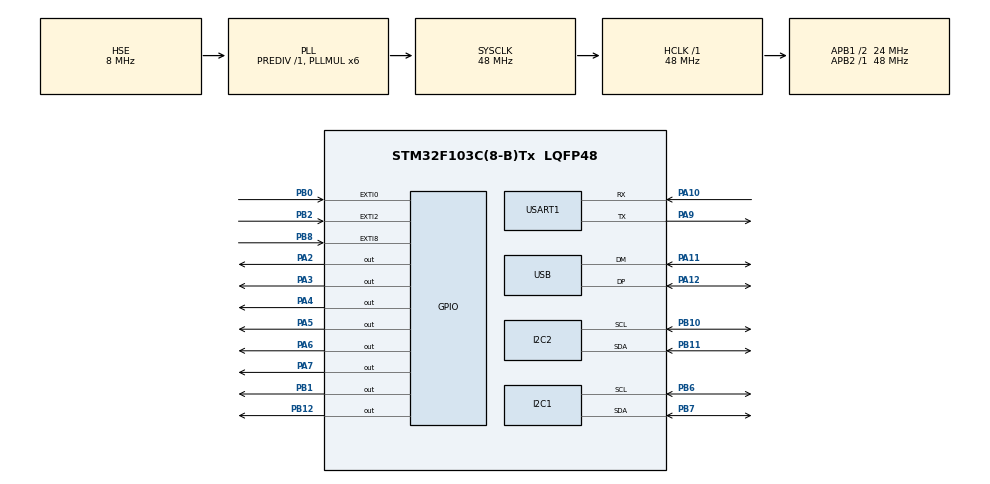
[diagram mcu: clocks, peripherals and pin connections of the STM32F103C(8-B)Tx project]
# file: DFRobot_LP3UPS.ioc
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Mcu.Family=STM32F1
Mcu.Name=STM32F103C(8-B)Tx
Mcu.Package=LQFP48
NVIC.EXTI0_IRQn=true\:0\:0\:false\:false\:true\:true\:true\:true
NVIC.EXTI2_IRQn=true\:0\:0\:false\:false\:true\:true\:true\:true
NVIC.EXTI9_5_IRQn=true\:0\:0\:false\:false\:true\:true\:true\:true
NVIC.PriorityGroup=NVIC_PRIORITYGROUP_4
NVIC.RTC_Alarm_IRQn=true\:0\:0\:false\:false\:true\:true\:true\:true
NVIC.RTC_IRQn=true\:0\:0\:false\:false\:true\:true\:true\:true
NVIC.TIM3_IRQn=true\:0\:0\:false\:false\:true\:true\:true\:true
NVIC.USB_LP_CAN1_RX0_IRQn=true\:0\:0\:false\:false\:true\:false\:true\:true
PA10.Mode=Asynchronous
PA10.Signal=USART1_RX
PA11.Mode=Device
PA11.Signal=USB_DM
PA12.Mode=Device
PA12.Signal=USB_DP
PA2.Signal=GPIO_Output
PA3.Signal=GPIO_Output
PA4.Signal=GPIO_Output
PA5.Signal=GPIO_Output
PA6.Signal=GPIO_Output
PA7.Signal=GPIO_Output
PA9.Mode=Asynchronous
PA9.Signal=USART1_TX
PB0.Signal=GPXTI0
PB1.Signal=GPIO_Output
PB10.Mode=I2C
PB10.Signal=I2C2_SCL
PB11.Mode=I2C
PB11.Signal=I2C2_SDA
PB12.Signal=GPIO_Output
PB2.Signal=GPXTI2
PB6.Mode=I2C
PB6.Signal=I2C1_SCL
PB7.Mode=I2C
PB7.Signal=I2C1_SDA
PB8.GPIO_ModeDefaultEXTI=GPIO_MODE_IT_RISING
PB8.GPIO_PuPd=GPIO_NOPULL
PB8.Signal=GPXTI8
PD0-OSC_IN.Mode=HSE-External-Oscillator
PD0-OSC_IN.Signal=RCC_OSC_IN
PD1-OSC_OUT.Mode=HSE-External-Oscillator
PD1-OSC_OUT.Signal=RCC_OSC_OUT
ProjectManager.HeapSize=0x400
ProjectManager.StackSize=0x400
ProjectManager.TargetToolchain=MDK-ARM V5.32
RCC.AHBFreq_Value=48000000
RCC.APB1CLKDivider=RCC_HCLK_DIV2
RCC.APB1Freq_Value=24000000
RCC.APB1TimFreq_Value=48000000
RCC.APB2Freq_Value=48000000
RCC.APB2TimFreq_Value=48000000
RCC.HCLKFreq_Value=48000000
RCC.PLLMUL=RCC_PLL_MUL6
RCC.SYSCLKFreq_VALUE=48000000
RCC.SYSCLKSource=RCC_SYSCLKSOURCE_PLLCLK
RCC.USBFreq_Value=48000000
USART1.VirtualMode=VM_ASYNC
USB_DEVICE.CLASS_NAME_FS=CDC
USB_DEVICE.VirtualMode=Cdc
USB_DEVICE.VirtualModeFS=Cdc_FS
VP_RTC_VS_RTC_Activate.Mode=RTC_Enabled
VP_SYS_VS_ND.Mode=No_Debug
VP_TIM3_VS_ClockSourceITR.Mode=TriggerSource_ITR0
VP_USB_DEVICE_VS_USB_DEVICE_CDC_FS.Mode=CDC_FS
board=custom

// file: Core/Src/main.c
/* USER CODE BEGIN Header */
/**
  ******************************************************************************
  * @file           : main.c
  * @brief          : Main program body
  ******************************************************************************
  * @attention
  *
  * Copyright (c) 2022 STMicroelectronics.
  * All rights reserved.
  *
  * This software is licensed under terms that can be found in the LICENSE file
  * in the root directory of this software component.
  * If no LICENSE file comes with this software, it is provided AS-IS.
  *
  ******************************************************************************
  */
/* USER CODE END Header */
#include "main.h"
#include "i2c.h"
#include "rtc.h"
#include "tim.h"
#include "usart.h"
#include "usb_device.h"
#include "gpio.h"

/* USER CODE BEGIN Includes */
#include "usbd_cdc_if.h"
#include "FlashRW.h"
#include "battery.h"
// #include<math.h>
/* USER CODE END Includes */

void SystemClock_Config(void);

/* USER CODE BEGIN 0 */
void USB_Status_Init(void);

// 加入以下代码,支持printf函数,而不用选择use MicroLIB
#if 1
  #pragma import(__use_no_semihosting)
  // 标准库需要的支持函数
  struct __FILE
  {
    int handle;
  };

  FILE __stdout;
  // 定义_sys_exit()以避免使用半主机模式
  void _sys_exit(int x)
  {
    x = x;
  }

  // 重定义fputc函数
  int fputc(int ch, FILE *f)
  {
    while((USART1->SR&0X40)==0){}   // 循环发,直到发完
      USART1->DR = (uint8_t) ch;
    return ch;
  }
#endif

/* USER CODE END 0 */

int main(void)
{

  /* MCU Configuration--------------------------------------------------------*/

  /* Reset of all peripherals, Initializes the Flash interface and the Systick. */
  HAL_Init();

  /* Configure the system clock */
  SystemClock_Config();
  NVIC_SetPriority(SysTick_IRQn, 3);   // 设置更高的滴答优先级，使得它能在一些中断里面使用

  /* USER CODE BEGIN SysInit */
  USB_Status_Init();
  MX_USART1_UART_Init();

  /* USER CODE END SysInit */

  /* Initialize all configured peripherals */
  MX_GPIO_Init();
  MX_USB_DEVICE_Init();
  MX_I2C1_Init();
  MX_I2C2_Init();
  MX_TIM3_Init();
  MX_RTC_Init();
  /* USER CODE BEGIN 2 */

  // HAL_GPIO_WritePin(GPIOB ,GPIO_PIN_12, GPIO_PIN_SET);
  RTC_Set(2022, 7, 26, 17, 30, 00);
  while(0)
  {
    if(USB_COM.RecFlag==1) {
      if(UserRxBufferFS[0] == 0x40) {
        UserRxBufferFS[4]++;  //就是串口调试时BC后面的计数
        UserRxBufferFS[5] = '\n';
        CDC_Transmit_FS(UserRxBufferFS, 6);
        USB_COM.RecFlag=0;
      }
    }
  }
  // HAL_GPIO_WritePin(GPIOA ,GPIO_PIN_6, GPIO_PIN_SET);
  // HAL_GPIO_WritePin(GPIOB ,GPIO_PIN_12, GPIO_PIN_SET);
  // HAL_TIM_Base_Start_IT(&htim3);
  // RTC_TimeTypeDef myTime;
  // myTime.Hours = 25;
  // myTime.Minutes = 70;
  // myTime.Seconds = 70;
  // HAL_RTC_SetTime(&hrtc, &myTime, RTC_FORMAT_BIN);
  // while(1) {
  //   HAL_RTC_GetTime(&hrtc, &myTime, RTC_FORMAT_BIN);
  //   printf("myTime.Hours = %u\r\n", myTime.Hours);
  //   printf("myTime.Minutes = %u\r\n", myTime.Minutes);
  //   printf("myTime.Seconds = %u\r\n", myTime.Seconds);
  //   HAL_Delay(1000);
  // }
  //verify and set all the parameter. Alert when fail to set
  // int ret_val;
  // ret_val = gauge_verify_and_calibrate();
  // if(ret_val == -1) {
  //   printf("gauge_verify_and_calibrate failed\n");
  // }
  // autocalibrate();
    // uint8_t buf[100] = {0};
    // uint8_t buf1[100] = {0};
  // while (buff[rtcDataLen].count)
  // {
  //   rtcDataLen
  // }
  // struct uart_RTC_Time hyy_bufff[20] = {0};
  FlashReadBuff(DEVICE_LOG_ADDRESS, (uint8_t *)buff, sizeof(buff));
  rtcDataLen = buff[0].count;
  for (size_t i = 1; i < 20; i++)
  {
    if(rtcDataLen < buff[i].count) {   // 遍历之前的任务数
      if (0xFF != buff[i].count) {   // 若Flash未写入 是0XFF
        rtcDataLen = buff[i].count;
      }
    }
    // printf("--\nbuff[%u].timePoint = %#x\r\n", i, buff[i].timePoint);
    // printf("buff.offset = %#x\r\n", buff[i].offset);
    // printf("buff.type = %#x\r\n", buff[i].type);
    // printf("buff.number = %#x\r\n", buff[i].number);
    // printf("buff.count = %#x\r\n", buff[i].count);
    // printf("buff.arr[0] = %#x\r\n", buff[i].arr[0]);
    // printf("buff.year = %#x\r\n", buff[i].year);
    // printf("buff.month = %#x\r\n", buff[i].month);
    // printf("buff.date = %#x\r\n", buff[i].date);
    // printf("buff.hour = %#x\r\n", buff[i].hour);
    // printf("buff.minute = %#x\r\n++\n", buff[i].minute);
    // printf("hyy_bufff[%u].timePoint = %#x\r\n", i, hyy_bufff[i].timePoint);
    // printf("hyy_bufff.offset = %#x\r\n", hyy_bufff[i].offset);
    // printf("hyy_bufff.type = %#x\r\n", hyy_bufff[i].type);
    // printf("hyy_bufff.number = %#x\r\n", hyy_bufff[i].number);
    // printf("hyy_bufff.count = %#x\r\n", hyy_bufff[i].count);
    // printf("hyy_bufff.arr[0] = %#x\r\n", hyy_bufff[i].arr[0]);
    // HAL_Delay(1000);
  }
  rtcDataLen += 1;   // 真实任务数为 序号加一
  printf("rtcDataLen = %x\r\n", rtcDataLen);
  RTC_Set_Alam(buff[0].year ,buff[0].month ,buff[0].date ,buff[0].hour ,buff[0].minute ,buff[0].second);
  FlashWriteFlag = 0;   // 写flash标志初始化

  /* USER CODE END 2 */

  /* Infinite loop */
  while (1)
  {

		if(USB_COM.RecFlag == 1) {
      Data_Analysis(UTART_ANALYSIS ,USB_COM.RecLen);
      USB_COM.RecLen = 0;
      USB_COM.RecFlag = 0;
      memset(UTART_ANALYSIS, 0 ,255);
		}
    flush_Alarm();
		// printf("1\n");

    if(1 == FlashWriteFlag) {
      printf("FlashWriteBuff FlashWriteFlag = %u\n", FlashWriteFlag);
      FlashWriteFlag = 0;
      FlashWriteBuff(DEVICE_LOG_ADDRESS, (uint8_t *)buff, sizeof(buff));
      // HAL_Delay(1000);
      // FlashReadBuff(DEVICE_LOG_ADDRESS, (uint8_t *)hyy_bufff, sizeof(hyy_bufff));
      for (size_t i = 0; i < 3; i++)
      {
        printf("--\nbuff[%u].timePoint = %#x\r\n", i, buff[i].timePoint);
        printf("buff.offset = %#x\r\n", buff[i].offset);
        printf("buff.type = %#x\r\n", buff[i].type);
        printf("buff.number = %#x\r\n", buff[i].number);
        printf("buff.count = %#x\r\n", buff[i].count);
        printf("buff.arr[0] = %#x\r\n", buff[i].arr[0]);
        // printf("hyy_bufff[%u].timePoint = %#x\r\n", i, hyy_bufff[i].timePoint);
        // printf("hyy_bufff.offset = %#x\r\n", hyy_bufff[i].offset);
        // printf("hyy_bufff.type = %#x\r\n", hyy_bufff[i].type);
        // printf("hyy_bufff.number = %#x\r\n", hyy_bufff[i].number);
        // printf("hyy_bufff.count = %#x\r\n", hyy_bufff[i].count);
        // printf("hyy_bufff.arr[0] = %#x\r\n++\n", hyy_bufff[i].arr[0]);
        // HAL_Delay(1000);
      }
    }
    // buf[0] += 1;
    // buf[49] += 2;
    // buf[99] += 3;
    // STMFLASH_Write(0x08010000, (uint32_t *)buf, 50);
    // STMFLASH_Read(0x08010000, (uint32_t *)buf1, 50);
    // printf("2---buf1[0] = %u; buf1[49] = %u; buf1[99] = %u\n", buf1[0], buf1[49], buf1[99]);

    // HAL_Delay(1000);

    /* USER CODE BEGIN 3 */

#if 0
    int ret_val;

    RTC_Get();

    ret_val = internal_temperature();
    if(ret_val == -1) {
        printf("Error internal temperature\n");
    }
    float internal_temp = (float)ret_val*0.1-273.15;
    printf("\ninternal_temp data = %0.2f C\r\n\n", internal_temp);

    ret_val = voltage();
    if(ret_val == -1) {
        printf("Error write to file : voltage\n");
    }
    uint16_t volt = (uint16_t)ret_val;
    printf("volt data = %d mV\r\n", volt);
    if (9300 >= volt) {
      HAL_GPIO_WritePin(GPIOB ,GPIO_PIN_12, GPIO_PIN_RESET);
    }

    ret_val = current();
    if(ret_val == -1) {
      printf("Error current_value\n");
    }
    int16_t current_value = (int16_t)ret_val;
    printf("current_value data = %d mA\r\n\n", current_value);

    HAL_StatusTypeDef ret;
    uint8_t buf[2] = {0};
    ret = I2cGetRegs(&hi2c2, BQ34Z100_G1_I2C_ADDR, (uint8_t)0x02, buf, 2);
    if (HAL_OK != ret) {
      printf("BQ34Z100_G1_I2C_ADDR ret = %u\r\n", ret);
    }
    printf("electric quantity = %u%%\r\n", buf[0]);
    printf("MAX Error = %u%%\r\n\n", buf[1]);
    for(uint8_t i=0; i<2; i++) {
      ret = I2cGetRegs(&hi2c2, BQ34Z100_G1_I2C_ADDR, (uint8_t)0x04+i*2, buf, 2);
      if (HAL_OK != ret) {
        printf("BQ34Z100_G1_I2C_ADDR ret = %u\r\n", ret);
      }
      printf("BQ34Z100_G1_I2C_ADDR data = %d mAh\r\n", (int16_t)(CONCAT_BYTES(buf[1], buf[0])));
    }

    printf("\n++++++++++++++++++++++++++++\r\n\n");

    uint8_t data = 0;
    ret = I2cGetRegs(&hi2c1, BQ25792_I2C_ADDR, (uint8_t)BQ25792_CHG_STATUS1, &data, 1);
    if (HAL_OK != ret) {
      printf("ret1 = %u\r\n", ret);
    }

    data >>= 5;
    printf("charging state = %u\r\n", data);

    data = 0;
    ret = I2cGetRegs(&hi2c1, BQ25792_I2C_ADDR, (uint8_t)BQ25792_ADC_CTRL, &data, 1);
    if (HAL_OK != ret){
      printf("ret1 = %u\r\n", ret);
    }

    data |= (1UL << (7));       // start A/D convertion
    ret = I2cSetRegs(&hi2c1, BQ25792_I2C_ADDR, (uint16_t)BQ25792_ADC_CTRL, &data, 1);
    if (HAL_OK != ret){
      printf("ret2 = %u\r\n", ret);
    }

    // uint8_t buf[2] = {0};
    memset(buf, 0, sizeof(buf));
    ret = I2cGetRegs(&hi2c1, BQ25792_I2C_ADDR, (uint8_t)BQ25792_VBUS_ADC, buf, 2);
    if (HAL_OK != ret) {
      printf("main ret = %u\r\n", ret);
      // Error_Handler();
    }
    printf("VBUS_ADC data = %d mV\r\n", (int16_t)(CONCAT_BYTES(buf[0], buf[1])));

    memset(buf, 0, sizeof(buf));
    // printf("-----data = %u\r\n", CONCAT_BYTES(buf[0], buf[1]));
    ret = I2cGetRegs(&hi2c1, BQ25792_I2C_ADDR, (uint8_t)BQ25792_VSYS_ADC, buf, 2);
    if (HAL_OK != ret) {
      printf("main ret = %u\r\n", ret);
      // Error_Handler();
    }
    printf("VSYS_ADC data = %u mV\r\n", (int16_t)(CONCAT_BYTES(buf[0], buf[1])));

    memset(buf, 0, sizeof(buf));
    // printf("-----data = %u\r\n", CONCAT_BYTES(buf[0], buf[1]));
    ret = I2cGetRegs(&hi2c1, BQ25792_I2C_ADDR, (uint8_t)BQ25792_VBAT_ADC, buf, 2);
    if (HAL_OK != ret) {
      printf("main ret = %u\r\n", ret);
      // Error_Handler();
    }
    printf("VBAT_ADC data = %u mV\r\n", (int16_t)(CONCAT_BYTES(buf[0], buf[1])));

    printf("------------\r\n\n");
    HAL_Delay(1000);

    // showPowerLED(1, 99, 1);

#endif

  }
  /* USER CODE END 3 */
}

void SystemClock_Config(void)
{
  RCC_OscInitTypeDef RCC_OscInitStruct = {0};
  RCC_ClkInitTypeDef RCC_ClkInitStruct = {0};
  RCC_PeriphCLKInitTypeDef PeriphClkInit = {0};

  /** Initializes the RCC Oscillators according to the specified parameters
  * in the RCC_OscInitTypeDef structure.
  */
  RCC_OscInitStruct.OscillatorType = RCC_OSCILLATORTYPE_LSI|RCC_OSCILLATORTYPE_HSE;
  RCC_OscInitStruct.HSEState = RCC_HSE_ON;
  RCC_OscInitStruct.HSEPredivValue = RCC_HSE_PREDIV_DIV1;
  RCC_OscInitStruct.HSIState = RCC_HSI_ON;
  RCC_OscInitStruct.LSIState = RCC_LSI_ON;
  RCC_OscInitStruct.PLL.PLLState = RCC_PLL_ON;
  RCC_OscInitStruct.PLL.PLLSource = RCC_PLLSOURCE_HSE;
  RCC_OscInitStruct.PLL.PLLMUL = RCC_PLL_MUL6;
  if (HAL_RCC_OscConfig(&RCC_OscInitStruct) != HAL_OK)
  {
    Error_Handler();
  }

  /** Initializes the CPU, AHB and APB buses clocks
  */
  RCC_ClkInitStruct.ClockType = RCC_CLOCKTYPE_HCLK|RCC_CLOCKTYPE_SYSCLK
                              |RCC_CLOCKTYPE_PCLK1|RCC_CLOCKTYPE_PCLK2;
  RCC_ClkInitStruct.SYSCLKSource = RCC_SYSCLKSOURCE_PLLCLK;
  RCC_ClkInitStruct.AHBCLKDivider = RCC_SYSCLK_DIV1;
  RCC_ClkInitStruct.APB1CLKDivider = RCC_HCLK_DIV2;
  RCC_ClkInitStruct.APB2CLKDivider = RCC_HCLK_DIV1;

  if (HAL_RCC_ClockConfig(&RCC_ClkInitStruct, FLASH_LATENCY_1) != HAL_OK)
  {
    Error_Handler();
  }
  PeriphClkInit.PeriphClockSelection = RCC_PERIPHCLK_RTC|RCC_PERIPHCLK_USB;
  PeriphClkInit.RTCClockSelection = RCC_RTCCLKSOURCE_LSI;
  PeriphClkInit.UsbClockSelection = RCC_USBCLKSOURCE_PLL;
  if (HAL_RCCEx_PeriphCLKConfig(&PeriphClkInit) != HAL_OK)
  {
    Error_Handler();
  }
}

/* USER CODE BEGIN 4 */
/**
 * @brief 用来复位USB口, 即让USB的两个PIN保持一段时间低电平。
 * @return None
 */
void USB_Status_Init(void)
{
  GPIO_InitTypeDef GPIO_InitStruct = {0};

  /* GPIO Ports Clock Enable */
  __HAL_RCC_GPIOA_CLK_ENABLE();

  /*Configure GPIO pin Output Level */
  HAL_GPIO_WritePin(GPIOA, GPIO_PIN_11|GPIO_PIN_12, GPIO_PIN_RESET);

  /*Configure GPIO pin : PA11 PA12 */
  GPIO_InitStruct.Pin = GPIO_PIN_11|GPIO_PIN_12;
  GPIO_InitStruct.Mode = GPIO_MODE_OUTPUT_PP;
  GPIO_InitStruct.Pull = GPIO_NOPULL;
  GPIO_InitStruct.Speed = GPIO_SPEED_FREQ_LOW;
  HAL_GPIO_Init(GPIOA, &GPIO_InitStruct);

  HAL_Delay(10);
}

/* USER CODE END 4 */

void Error_Handler(void)
{
  /* USER CODE BEGIN Error_Handler_Debug */
  /* User can add his own implementation to report the HAL error return state */
  printf("404\r\n");
  __disable_irq();
  while (1)
  {
  }
  /* USER CODE END Error_Handler_Debug */
}
